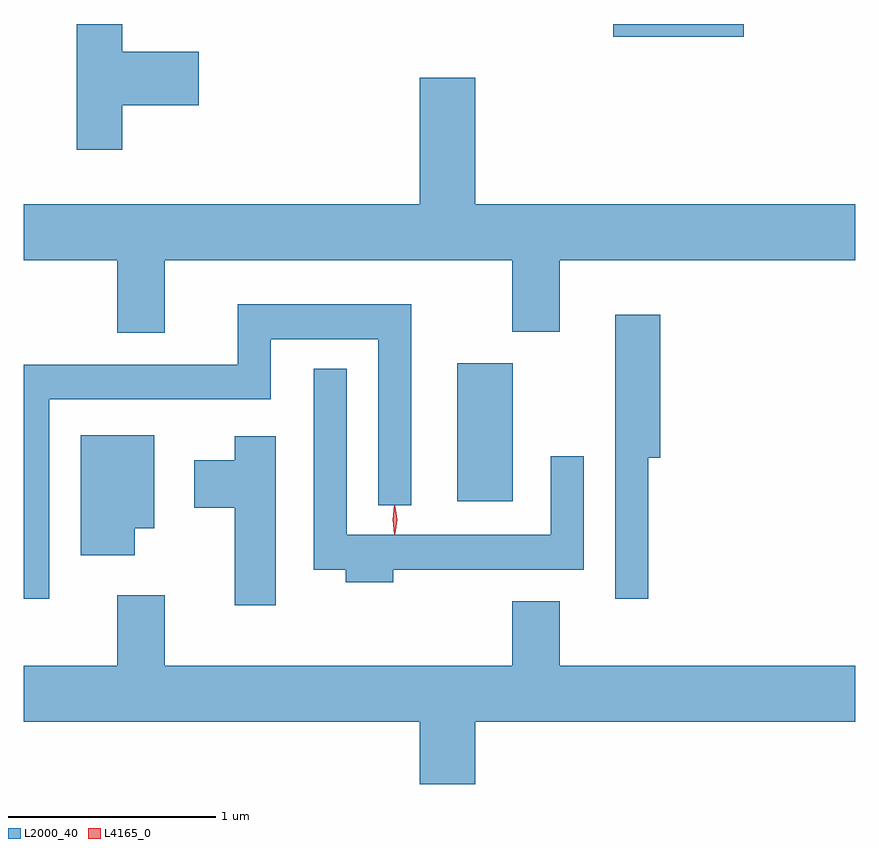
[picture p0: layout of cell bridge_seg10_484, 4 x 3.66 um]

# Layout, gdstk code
import gdstk
lib = gdstk.Library(unit=1e-6, precision=1e-09)
def R(c, l, rs):  # rectangles x0, y0, x1, y1
    for r in rs: c.add(gdstk.rectangle(r[:2], r[2:], *l))
def P(c, l, *ps):  # polygons
    for p in ps: c.add(gdstk.Polygon(p, *l))
L2000_40 = (2000, 40)
L4165_0 = (4165, 0)

bridge_seg10_484 = lib.new_cell('bridge_seg10_484')
R(bridge_seg10_484, L2000_40, [(914.556,2174.916,914.824,2175.579), (915.306,2177.151,915.934,2177.212)])
P(bridge_seg10_484, L2000_40, [(912.944,2176.821),(913.314,2176.821),(913.314,2177.079),(912.944,2177.079),(912.944,2177.212),(912.726,2177.212),(912.726,2176.606),(912.944,2176.606)],
  [(913.149,2176.076),(914.821,2176.076),(914.821,2175.731),(915.049,2175.731),(915.049,2176.076),(916.471,2176.076),(916.471,2176.344),(914.644,2176.344),(914.644,2176.954),(914.376,2176.954),(914.376,2176.344),(912.471,2176.344),(912.471,2176.076),(912.921,2176.076),(912.921,2175.726),(913.149,2175.726)],
  [(912.594,2175.406),(913.659,2175.406),(913.659,2175.696),(914.176,2175.696),(914.176,2174.898),(914.334,2174.898),(914.334,2175.864),(913.501,2175.864),(913.501,2175.574),(912.471,2175.574),(912.471,2174.448),(912.594,2174.448)],
  [(915.474,2175.126),(915.534,2175.126),(915.534,2175.814),(915.316,2175.814),(915.316,2174.448),(915.474,2174.448)],
  [(914.249,2174.586),(915.164,2174.586),(915.164,2175.133),(915.006,2175.133),(915.006,2174.754),(914.024,2174.754),(914.024,2175.553),(913.866,2175.553),(913.866,2174.586),(914.021,2174.586),(914.021,2174.526),(914.249,2174.526)],
  [(913.004,2174.786),(913.099,2174.786),(913.099,2175.234),(912.746,2175.234),(912.746,2174.656),(913.004,2174.656)],
  [(913.684,2175.229),(913.486,2175.229),(913.486,2175.114),(913.291,2175.114),(913.291,2174.886),(913.486,2174.886),(913.486,2174.416),(913.684,2174.416)],
  [(914.644,2173.856),(916.471,2173.856),(916.471,2174.124),(915.049,2174.124),(915.049,2174.434),(914.821,2174.434),(914.821,2174.124),(913.149,2174.124),(913.149,2174.464),(912.921,2174.464),(912.921,2174.124),(912.471,2174.124),(912.471,2173.856),(914.376,2173.856),(914.376,2173.556),(914.644,2173.556)])
P(bridge_seg10_484, L4165_0, [(914.255,2174.757),(914.254,2174.758),(914.245,2174.827),(914.254,2174.896),(914.255,2174.896),(914.255,2174.896),(914.265,2174.827),(914.255,2174.758)],
  [(914.257,2174.76),(914.248,2174.826),(914.257,2174.892),(914.258,2174.893),(914.258,2174.892),(914.267,2174.826),(914.258,2174.76),(914.258,2174.76)])

lib.write_gds('bridge_seg10_484.gds')
